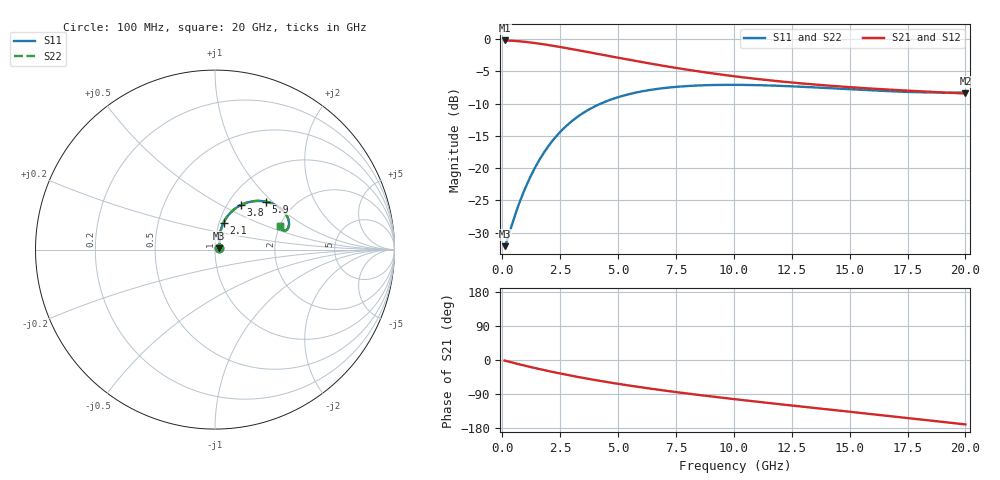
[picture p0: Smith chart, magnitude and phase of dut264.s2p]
! Touchstone file exported from HFSS 2023.1.0
!  File:  D:/Users/fzz/RDL_TSV/temp_RDL_TSV_264_1778761298.aedt
!  Generated:  8:34:21 %x4E0B%x5348  5%x6708 14, 2026
!  Design:  RDL_TSV
!  Project:  temp_RDL_TSV_264_1778761298
!  Setup:  Setup1
!  Solution:  Sweep
! Variables:
!  dtsv = 10.87um
!  hbump = 3um
!  htsv = 50.81um
!  ldown = 370.63um
!  lrdl = 352.23um
!  p = 40
!  p1 = 57.74um
!  rhole = 10um
!  subl = 2520.81um
!  t = 450um
!  tdown = 4.86um
!  trdl = 2.16um
!  viad = 10um
!  wdown = 17.14um
!  wrdl = 11.87um
!  xbump = 18um
# GHz S MA R 50.000000
! Terminal data exported
! Port[1] = TM1_1_T1
! Port[2] = TM1_4_T1
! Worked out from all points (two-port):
!   200 points, 100 MHz to 20 GHz, reference 50 ohm
!   highest |S21| = -0.21 dB at 100 MHz (marker M1); lowest = -8.4 dB at 20 GHz (marker M2)
!   |S21| within 3 dB of the highest: start of sweep to 5.492 GHz
!   lowest |S11| = -32.1 dB at 100 MHz (marker M3), VSWR 1.05, Z = 52.5 + j0.685 ohm
!   |S11| at or under -10 dB: start of sweep to 4.253 GHz
!   |S22| runs from -32.1 to -7.1 dB; largest |S21 - S12| = 9.1e-15
!   S11 on the Smith chart (normalised r, x): 100 MHz: 1.05, +0.01; 2.1 GHz: 1.05, +0.32; 3.8 GHz: 1.16, +0.63; 5.9 GHz: 1.45, +0.91; 20 GHz: 2.01, +0.62
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0.1  0.02486 15.2  0.9757 -1.6  0.9757 -1.6  0.02486 15.2
! Gamma 0 0 0 0
! Port Impedance 50 0 50 0
0.2  0.02746 28.2  0.9747 -3.2  0.9747 -3.2  0.02745 28.2
0.7  0.05155 60.7  0.9627 -10.9  0.9627 -10.9  0.05155 60.8
1.1  0.0775 69.9  0.9469 -16.8  0.9469 -16.8  0.0775 69.9
1.3  0.09217 72.0  0.9373 -19.7  0.9373 -19.7  0.09217 72.1
1.6  0.1157 73.4  0.9216 -23.9  0.9216 -23.9  0.1157 73.4
2.1  0.1573 72.5  0.8926 -30.5  0.8926 -30.5  0.1574 72.5
2.4  0.1825 70.8  0.8743 -34.4  0.8743 -34.4  0.1826 70.9
2.8  0.2153 68.0  0.8495 -39.3  0.8495 -39.3  0.2154 68.0
3.5  0.2681 62.1  0.8058 -47.3  0.8058 -47.3  0.2683 62.2
3.8  0.2884 59.6  0.7874 -50.6  0.7874 -50.6  0.2887 59.6
4.8  0.3453 51.3  0.7285 -60.9  0.7285 -60.9  0.3456 51.4
5.9  0.3894 43.3  0.6699 -71.2  0.6699 -71.2  0.3898 43.4
6.8  0.4135 37.7  0.6275 -78.9  0.6275 -78.9  0.4141 37.7
8.4  0.4366 29.5  0.5645 -91.6  0.5645 -91.6  0.4372 29.6
10.1  0.442 23.2  0.5129 -103.8  0.5129 -103.8  0.4428 23.3
11.7  0.4361 19.0  0.4759 -114.8  0.4759 -114.8  0.4369 19.1
13.4  0.4232 16.2  0.4459 -126.0  0.4459 -126.0  0.4241 16.3
15  0.4087 15.2  0.4242 -136.6  0.4242 -136.6  0.4096 15.2
16.7  0.3947 15.6  0.406 -147.8  0.406 -147.8  0.3956 15.7
18.4  0.3859 17.3  0.391 -159.2  0.391 -159.2  0.3869 17.4
20  0.3853 19.8  0.3788 -170.0  0.3788 -170.0  0.3863 19.8
